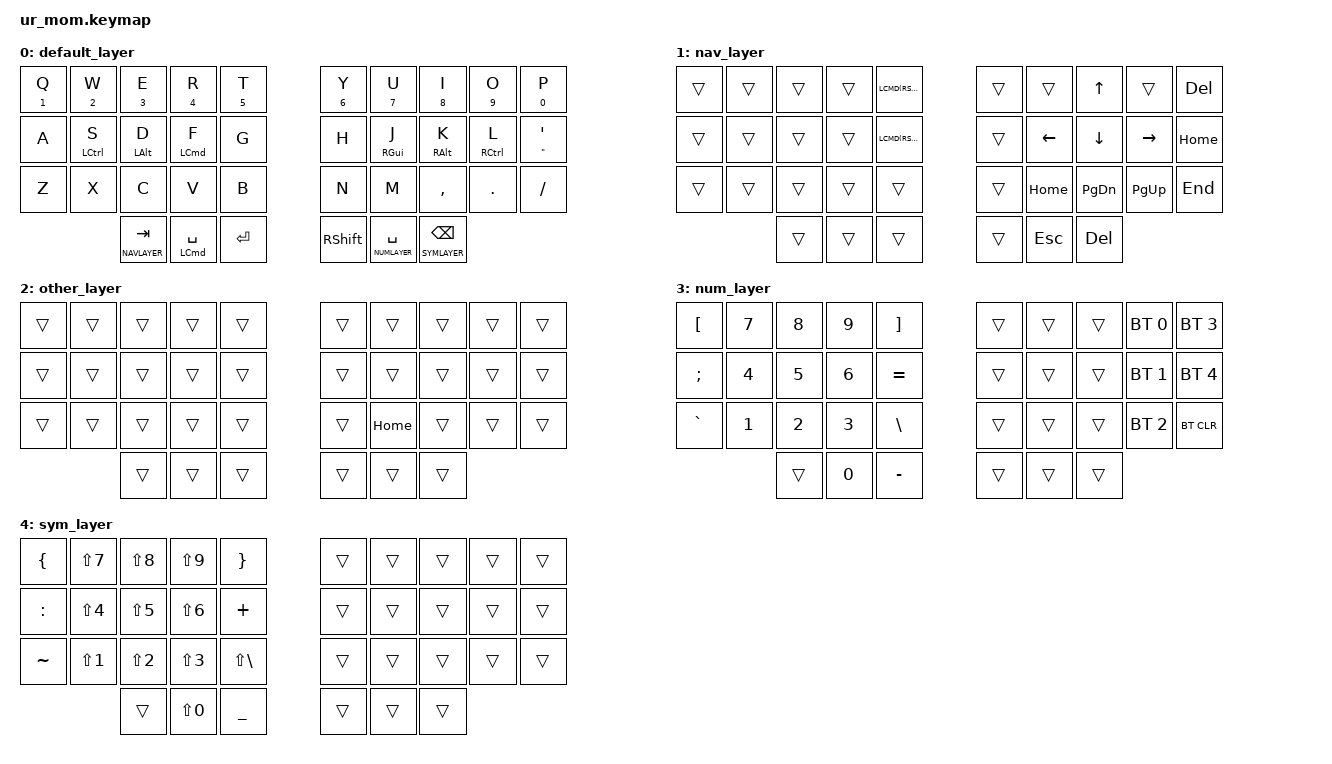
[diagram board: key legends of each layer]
#include <behaviors.dtsi>
#include <dt-bindings/zmk/keys.h>
#include <dt-bindings/zmk/bt.h>
#include <dt-bindings/zmk/outputs.h>

/*
 * Copyright (c) 2020 The ZMK Contributors
 *
 * SPDX-License-Identifier: MIT
 */

#define NAVLAYER 1
#define OTHERLAYER 2
#define NUMLAYER 3
#define SYMLAYER 4


/ {
    behaviors {
        hm: homerow_mods {
            compatible = "zmk,behavior-hold-tap";
            label = "homerow mods";
            #binding-cells = <2>;
            tapping_term_ms = <200>;
            flavor = "tap-preferred";
            bindings = <&kp>, <&kp>;
        };

    };

    keymap {
        compatible = "zmk,keymap";

        default_layer {
            bindings = <
            &hm N1 Q    &hm N2 W    &hm N3 E         &hm N4 R       &hm N5 T           &hm N6 Y     &hm N7 U           &hm N8 I    &hm N9 O    &hm N0 P
            &kp A       &hm LCTRL S &hm LALT D       &hm LCMD F     &kp G              &kp H        &hm RGUI J         &hm RALT K  &hm RCTRL L &hm DQT QUOT
            &kp Z       &kp X       &kp C            &kp V          &kp B              &kp N        &kp M              &kp COMMA   &kp DOT     &kp FSLH
                                    &lt NAVLAYER TAB &hm LCMD SPACE &kp ENTER          &kp RSHIFT   &lt NUMLAYER SPACE &lt SYMLAYER BSPC
            >;
        };

        nav_layer {
            bindings = <
            &trans     &trans     &trans   &trans     &kp LCMD(RSHIFT(4))      &trans     &trans         &kp UP      &trans     &kp DEL
            &trans     &trans     &trans   &trans     &kp LCMD(RSHIFT(5))      &trans     &kp LEFT       &kp DOWN    &kp RIGHT  &kp HOME
            &trans     &trans     &trans   &trans     &trans                   &trans     &kp HOME       &kp PG_DN   &kp PG_UP  &kp END
                                  &trans   &trans     &trans                   &trans     &kp ESC        &kp DEL        
            >;
        };

        other_layer {
            bindings = <
            &trans     &trans     &trans      &trans     &trans                       &trans     &trans         &trans      &trans     &trans
            &trans     &trans     &trans      &trans     &trans                       &trans     &trans         &trans      &trans     &trans
            &trans     &trans     &trans      &trans     &trans                       &trans     &kp HOME       &trans      &trans     &trans
                                  &trans      &trans     &trans                       &trans     &trans         &trans
            >;
        };

        num_layer {
            bindings = <
            &kp LBKT   &kp N7     &kp N8      &kp N9     &kp RBKT           &trans    &trans     &trans      &bt BT_SEL 0   &bt BT_SEL 3   
            &kp SEMI   &kp N4     &kp N5      &kp N6     &kp EQUAL          &trans    &trans     &trans      &bt BT_SEL 1   &bt BT_SEL 4 
            &kp GRAVE  &kp N1     &kp N2      &kp N3     &kp BSLH           &trans    &trans     &trans      &bt BT_SEL 2   &bt BT_CLR
                                  &trans      &kp N0     &kp MINUS          &trans    &trans     &trans 
            >;
        };

        sym_layer {
            bindings = <
            &kp LBRC      &kp LS(N7)  &kp LS(N8)  &kp LS(N9) &kp RBRC           &trans    &trans   &trans    &trans    &trans
            &kp COLON     &kp LS(N4)  &kp LS(N5)  &kp LS(N6) &kp PLUS           &trans    &trans   &trans    &trans    &trans
            &kp TILDE     &kp LS(N1)  &kp LS(N2)  &kp LS(N3) &kp LS(BSLH)       &trans    &trans   &trans    &trans    &trans
                                      &trans      &kp LS(N0) &kp UNDER          &trans    &trans   &trans 
            >;
        };
    };
};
